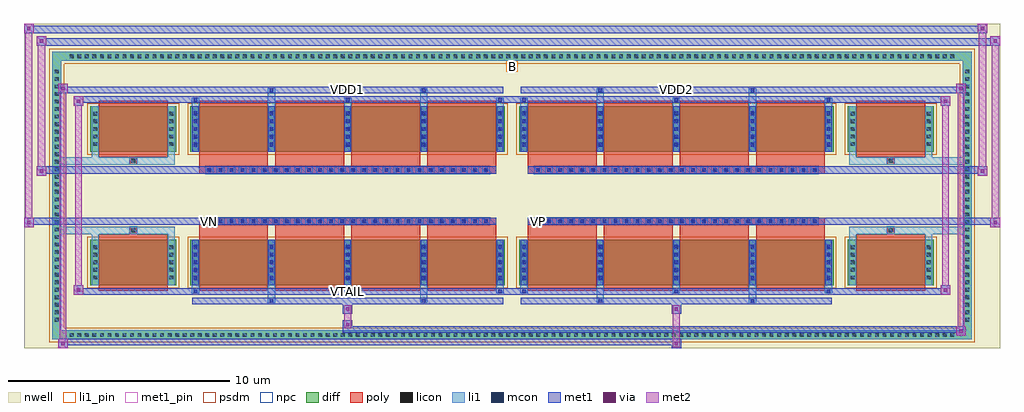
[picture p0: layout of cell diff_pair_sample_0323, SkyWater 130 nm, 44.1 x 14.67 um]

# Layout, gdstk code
import gdstk
lib = gdstk.Library(unit=1e-6, precision=5e-09)
def R(c, l, rs):  # rectangles x0, y0, x1, y1
    for r in rs: c.add(gdstk.rectangle(r[:2], r[2:], *l))
def A(c, l, x, y, w, h, nx, ny, dx, dy):  # array of equal rectangles
    R(c, l, [(x+i*dx, y+j*dy, x+i*dx+w, y+j*dy+h) for i in range(nx) for j in range(ny)])
def P(c, l, *ps):  # polygons
    for p in ps: c.add(gdstk.Polygon(p, *l))
nwell = (64, 20)
diff = (65, 20)
poly = (66, 20)
licon = (66, 44)
li1_pin = (67, 16)
li1 = (67, 20)
mcon = (67, 44)
met1_pin = (68, 16)
met1 = (68, 20)
via = (68, 44)
met2 = (69, 20)
psdm = (94, 20)
npc = (95, 20)

diff_pair_sample_0323 = lib.new_cell('diff_pair_sample_0323')
R(diff_pair_sample_0323, nwell, [(-22.05,-6.9,22.05,7.77), (-19.37,-5.09,-0.01,-0.795), (0.01,-5.09,19.37,-0.795), (-19.37,0.795,-0.01,5.09), (0.01,0.795,19.37,5.09)])
A(diff_pair_sample_0323, diff, -20.095, -6.5, 0.41, 0.41, 118, 2, 0.34, 12.59)
A(diff_pair_sample_0323, diff, -20.78, -5.815, 0.41, 0.41, 1, 34, 0, 0.34)
A(diff_pair_sample_0323, diff, 20.37, -5.815, 0.41, 0.41, 1, 34, 0, 0.34)
R(diff_pair_sample_0323, diff, [(-20.095,-6.5,20.095,-6.09), (-20.78,-5.815,-20.37,5.815), (20.37,-5.815,20.78,5.815), (-19.06,-4.045,-15.17,-1.985), (-14.53,-4.045,-0.32,-1.985), (0.32,-4.045,14.53,-1.985), (15.17,-4.045,19.06,-1.985), (-19.06,1.985,-15.17,4.045), (-14.53,1.985,-0.32,4.045), (0.32,1.985,14.53,4.045), (15.17,1.985,19.06,4.045), (-20.095,6.09,20.095,6.5)])
P(diff_pair_sample_0323, diff, [(20.78,6.5),(-20.78,6.5),(-20.78,-6.09),(-20.37,-6.09),(-20.37,6.09),(20.37,6.09),(20.37,-6.09),(-20.37,-6.09),(-20.78,-6.09),(-20.78,-6.5),(20.78,-6.5)])
A(diff_pair_sample_0323, poly, -14.14, -4.295, 3.11, 2.56, 4, 2, 3.44, 6.03)
A(diff_pair_sample_0323, poly, 0.71, -4.295, 3.11, 2.56, 4, 2, 3.44, 6.03)
A(diff_pair_sample_0323, poly, -14.14, -1.735, 3.11, 0.41, 4, 2, 3.44, 3.06)
A(diff_pair_sample_0323, poly, 0.71, -1.735, 3.11, 0.41, 4, 2, 3.44, 3.06)
A(diff_pair_sample_0323, poly, -13.84, -1.325, 0.33, 0.33, 26, 2, 0.5, 2.32)
A(diff_pair_sample_0323, poly, 1.01, -1.325, 0.33, 0.33, 26, 2, 0.5, 2.32)
R(diff_pair_sample_0323, poly, [(-18.67,-4.295,-15.56,-1.735), (15.56,-4.295,18.67,-1.735), (-17.28,-1.735,-16.95,-1.405), (-17.28,-1.735,-16.95,-1.405), (16.95,-1.735,17.28,-1.405), (16.95,-1.735,17.28,-1.405), (-14.14,-1.325,-0.71,-0.995), (0.71,-1.325,14.14,-0.995), (-14.14,0.995,-0.71,1.325), (0.71,0.995,14.14,1.325), (-17.28,1.405,-16.95,1.735), (-17.28,1.405,-16.95,1.735), (16.95,1.405,17.28,1.735), (16.95,1.405,17.28,1.735), (-18.67,1.735,-15.56,4.295), (15.56,1.735,18.67,4.295)])
A(diff_pair_sample_0323, licon, -19.975, -6.38, 0.17, 0.17, 118, 2, 0.34, 12.59)
A(diff_pair_sample_0323, licon, -20.66, -5.695, 0.17, 0.17, 1, 34, 0, 0.34)
A(diff_pair_sample_0323, licon, 20.49, -5.695, 0.17, 0.17, 1, 34, 0, 0.34)
A(diff_pair_sample_0323, licon, -18.92, -3.78, 0.17, 0.17, 1, 5, 0, 0.34)
A(diff_pair_sample_0323, licon, -15.48, -3.78, 0.17, 0.17, 1, 5, 0, 0.34)
A(diff_pair_sample_0323, licon, -14.39, -3.78, 0.17, 0.17, 5, 5, 3.44, 0.34)
A(diff_pair_sample_0323, licon, 0.46, -3.78, 0.17, 0.17, 5, 5, 3.44, 0.34)
A(diff_pair_sample_0323, licon, 15.31, -3.78, 0.17, 0.17, 1, 5, 0, 0.34)
A(diff_pair_sample_0323, licon, 18.75, -3.78, 0.17, 0.17, 1, 5, 0, 0.34)
A(diff_pair_sample_0323, licon, -13.76, -1.245, 0.17, 0.17, 26, 2, 0.5, 2.32)
A(diff_pair_sample_0323, licon, 1.09, -1.245, 0.17, 0.17, 26, 2, 0.5, 2.32)
A(diff_pair_sample_0323, licon, -18.92, 2.25, 0.17, 0.17, 1, 5, 0, 0.34)
A(diff_pair_sample_0323, licon, -15.48, 2.25, 0.17, 0.17, 1, 5, 0, 0.34)
A(diff_pair_sample_0323, licon, -14.39, 2.25, 0.17, 0.17, 5, 5, 3.44, 0.34)
A(diff_pair_sample_0323, licon, 0.46, 2.25, 0.17, 0.17, 5, 5, 3.44, 0.34)
A(diff_pair_sample_0323, licon, 15.31, 2.25, 0.17, 0.17, 1, 5, 0, 0.34)
A(diff_pair_sample_0323, licon, 18.75, 2.25, 0.17, 0.17, 1, 5, 0, 0.34)
R(diff_pair_sample_0323, licon, [(-17.2,-1.655,-17.03,-1.485), (17.03,-1.655,17.2,-1.485), (-17.2,1.485,-17.03,1.655), (17.03,1.485,17.2,1.655)])
R(diff_pair_sample_0323, li1_pin, [(-0.25,5.59,0.25,6.09)])
A(diff_pair_sample_0323, li1, -20.055, -6.46, 0.33, 0.33, 118, 2, 0.34, 12.59)
A(diff_pair_sample_0323, li1, -20.74, -5.775, 0.33, 0.33, 1, 34, 0, 0.34)
A(diff_pair_sample_0323, li1, 20.41, -5.775, 0.33, 0.33, 1, 34, 0, 0.34)
A(diff_pair_sample_0323, li1, -14.47, -4.42, 0.33, 0.375, 3, 2, 6.88, 8.465)
A(diff_pair_sample_0323, li1, -14.39, -4.42, 0.17, 0.17, 3, 2, 6.88, 8.67)
A(diff_pair_sample_0323, li1, 0.38, -4.42, 0.33, 0.375, 3, 2, 6.88, 8.465)
A(diff_pair_sample_0323, li1, 0.46, -4.42, 0.17, 0.17, 3, 2, 6.88, 8.67)
A(diff_pair_sample_0323, li1, -14.47, -4.045, 0.33, 2.06, 5, 2, 3.44, 6.03)
A(diff_pair_sample_0323, li1, 0.38, -4.045, 0.33, 2.06, 5, 2, 3.44, 6.03)
A(diff_pair_sample_0323, li1, -19, -3.86, 0.33, 0.33, 1, 5, 0, 0.34)
A(diff_pair_sample_0323, li1, -15.56, -3.86, 0.33, 0.33, 1, 5, 0, 0.34)
A(diff_pair_sample_0323, li1, -14.47, -3.86, 0.33, 0.33, 5, 5, 3.44, 0.34)
A(diff_pair_sample_0323, li1, 0.38, -3.86, 0.33, 0.33, 5, 5, 3.44, 0.34)
A(diff_pair_sample_0323, li1, 15.23, -3.86, 0.33, 0.33, 1, 5, 0, 0.34)
A(diff_pair_sample_0323, li1, 18.67, -3.86, 0.33, 0.33, 1, 5, 0, 0.34)
A(diff_pair_sample_0323, li1, -14.39, -3.82, 0.17, 0.17, 5, 5, 3.44, 0.36)
A(diff_pair_sample_0323, li1, -14.39, -3.82, 0.17, 1.61, 5, 2, 3.44, 6.03)
A(diff_pair_sample_0323, li1, 0.46, -3.82, 0.17, 0.17, 5, 5, 3.44, 0.36)
A(diff_pair_sample_0323, li1, 0.46, -3.82, 0.17, 1.61, 5, 2, 3.44, 6.03)
A(diff_pair_sample_0323, li1, -13.84, -1.325, 0.33, 0.33, 26, 2, 0.5, 2.32)
A(diff_pair_sample_0323, li1, 1.01, -1.325, 0.33, 0.33, 26, 2, 0.5, 2.32)
A(diff_pair_sample_0323, li1, -19, 2.17, 0.33, 0.33, 1, 5, 0, 0.34)
A(diff_pair_sample_0323, li1, -15.56, 2.17, 0.33, 0.33, 1, 5, 0, 0.34)
A(diff_pair_sample_0323, li1, -14.47, 2.17, 0.33, 0.33, 5, 5, 3.44, 0.34)
A(diff_pair_sample_0323, li1, 0.38, 2.17, 0.33, 0.33, 5, 5, 3.44, 0.34)
A(diff_pair_sample_0323, li1, 15.23, 2.17, 0.33, 0.33, 1, 5, 0, 0.34)
A(diff_pair_sample_0323, li1, 18.67, 2.17, 0.33, 0.33, 1, 5, 0, 0.34)
A(diff_pair_sample_0323, li1, -14.39, 2.21, 0.17, 0.17, 5, 5, 3.44, 0.36)
A(diff_pair_sample_0323, li1, 0.46, 2.21, 0.17, 0.17, 5, 5, 3.44, 0.36)
R(diff_pair_sample_0323, li1, [(-20.78,-6.5,-20.37,-6.09), (-20.78,-6.5,-20.37,-6.09), (-20.37,-6.5,20.37,-6.09), (20.37,-6.5,20.78,-6.09), (20.37,-6.5,20.78,-6.09), (-20.78,-6.09,-20.37,6.09), (20.37,-6.09,20.78,6.09), (-11.03,-4.85,-10.7,-4.045), (-10.95,-4.85,-10.78,-4.68), (-4.15,-4.85,-3.82,-4.045), (-4.07,-4.85,-3.9,-4.68), (3.82,-4.85,4.15,-4.045), (3.9,-4.85,4.07,-4.68), (10.7,-4.85,11.03,-4.045), (10.78,-4.85,10.95,-4.68), (-19,-4.045,-18.67,-1.985), (-15.56,-4.045,-15.23,-1.985), (15.23,-4.045,15.56,-1.985), (18.67,-4.045,19,-1.985), (-19,-1.985,-18.67,-1.405), (-15.56,-1.985,-15.23,-1.405), (15.23,-1.985,15.56,-1.405), (18.67,-1.985,19,-1.405), (-20.78,-1.735,-17.28,-1.405), (-19,-1.735,-17.28,-1.405), (-17.28,-1.735,-16.95,-1.405), (-16.95,-1.735,-15.23,-1.405), (15.23,-1.735,16.95,-1.405), (16.95,-1.735,17.28,-1.405), (16.95,-1.735,20.78,-1.405), (17.28,-1.735,19,-1.405), (-20.78,1.405,-17.28,1.735), (-19,1.405,-17.28,1.735), (-19,1.405,-18.67,1.985), (-17.28,1.405,-16.95,1.735), (-16.95,1.405,-15.23,1.735), (-15.56,1.405,-15.23,1.985), (15.23,1.405,16.95,1.735), (15.23,1.405,15.56,1.985), (16.95,1.405,17.28,1.735), (16.95,1.405,20.78,1.735), (17.28,1.405,19,1.735), (18.67,1.405,19,1.985), (-19,1.985,-18.67,4.045), (-15.56,1.985,-15.23,4.045), (15.23,1.985,15.56,4.045), (18.67,1.985,19,4.045), (-11.03,4.045,-10.7,4.85), (-4.15,4.045,-3.82,4.85), (3.82,4.045,4.15,4.85), (10.7,4.045,11.03,4.85), (-10.95,4.68,-10.78,4.85), (-4.07,4.68,-3.9,4.85), (3.9,4.68,4.07,4.85), (10.78,4.68,10.95,4.85), (-20.78,6.09,-20.37,6.5), (-20.78,6.09,-20.37,6.5), (-20.37,6.09,20.37,6.5), (20.37,6.09,20.78,6.5), (20.37,6.09,20.78,6.5)])
A(diff_pair_sample_0323, mcon, -14.39, -4.42, 0.17, 0.17, 3, 2, 6.88, 8.67)
A(diff_pair_sample_0323, mcon, 0.46, -4.42, 0.17, 0.17, 3, 2, 6.88, 8.67)
A(diff_pair_sample_0323, mcon, -14.39, -3.82, 0.17, 0.17, 5, 5, 3.44, 0.36)
A(diff_pair_sample_0323, mcon, 0.46, -3.82, 0.17, 0.17, 5, 5, 3.44, 0.36)
A(diff_pair_sample_0323, mcon, -13.76, -1.245, 0.17, 0.17, 26, 2, 0.5, 2.32)
A(diff_pair_sample_0323, mcon, 1.09, -1.245, 0.17, 0.17, 26, 2, 0.5, 2.32)
A(diff_pair_sample_0323, mcon, -14.39, 2.21, 0.17, 0.17, 5, 5, 3.44, 0.36)
A(diff_pair_sample_0323, mcon, 0.46, 2.21, 0.17, 0.17, 5, 5, 3.44, 0.36)
R(diff_pair_sample_0323, mcon, [(-10.95,-4.85,-10.78,-4.68), (-4.07,-4.85,-3.9,-4.68), (3.9,-4.85,4.07,-4.68), (10.78,-4.85,10.95,-4.68), (-10.95,4.68,-10.78,4.85), (-4.07,4.68,-3.9,4.85), (3.9,4.68,4.07,4.85), (10.78,4.68,10.95,4.85)])
R(diff_pair_sample_0323, met1_pin, [(-7.56,-4.46,-7.29,-4.19), (-13.81,-1.285,-13.54,-1.015), (1.04,-1.285,1.31,-1.015), (-7.56,4.64,-7.29,4.91), (7.29,4.64,7.56,4.91)])
A(diff_pair_sample_0323, met1, -14.45, -4.48, 0.29, 0.29, 3, 2, 6.88, 8.67)
A(diff_pair_sample_0323, met1, 0.4, -4.48, 0.29, 0.29, 3, 2, 6.88, 8.67)
A(diff_pair_sample_0323, met1, -14.45, -4.045, 0.29, 2.06, 5, 2, 3.44, 6.03)
A(diff_pair_sample_0323, met1, 0.4, -4.045, 0.29, 2.06, 5, 2, 3.44, 6.03)
A(diff_pair_sample_0323, met1, -14.45, -3.88, 0.29, 0.29, 5, 5, 3.44, 0.36)
A(diff_pair_sample_0323, met1, 0.4, -3.88, 0.29, 0.29, 5, 5, 3.44, 0.36)
A(diff_pair_sample_0323, met1, -13.82, -1.305, 0.29, 0.29, 26, 2, 0.5, 2.32)
A(diff_pair_sample_0323, met1, 1.03, -1.305, 0.29, 0.29, 26, 2, 0.5, 2.32)
A(diff_pair_sample_0323, met1, -14.45, 2.15, 0.29, 0.29, 5, 5, 3.44, 0.36)
A(diff_pair_sample_0323, met1, 0.4, 2.15, 0.29, 0.29, 5, 5, 3.44, 0.36)
R(diff_pair_sample_0323, met1, [(-20.51,-6.9,-20.08,-6.47), (7.21,-6.9,7.64,-6.47), (-20.51,-6.76,7.64,-6.47), (20.08,-6.33,20.51,-5.9), (-7.64,-6.19,20.51,-5.9), (-7.64,-6.05,-7.21,-5.62), (-7.64,-5.34,-7.21,-4.91), (7.21,-5.34,7.64,-4.91), (-14.45,-4.91,-0.4,-4.62), (-11.01,-4.91,-10.72,-4.62), (-4.13,-4.91,-3.84,-4.62), (0.4,-4.91,14.45,-4.62), (3.84,-4.91,4.13,-4.62), (10.72,-4.91,11.01,-4.62), (-19.8,-4.48,-19.37,-4.05), (-19.8,-4.48,-14.45,-4.19), (-14.45,-4.48,-0.4,-4.19), (-0.4,-4.48,0.4,-4.19), (0.4,-4.48,14.45,-4.19), (14.45,-4.48,19.8,-4.19), (19.37,-4.48,19.8,-4.05), (-22.05,-1.425,-21.62,-0.995), (21.62,-1.425,22.05,-0.995), (-22.05,-1.325,-0.71,-0.995), (-14.14,-1.325,-0.71,-0.995), (0.71,-1.325,14.14,-0.995), (0.71,-1.325,22.05,-0.995), (-21.48,0.895,-21.05,1.325), (21.05,0.895,21.48,1.325), (-21.48,0.995,-14.14,1.325), (-14.14,0.995,-0.71,1.325), (0.71,0.995,14.14,1.325), (14.14,0.995,21.48,1.325), (-19.8,4.05,-19.37,4.48), (19.37,4.05,19.8,4.48), (-19.8,4.19,-14.45,4.48), (-14.45,4.19,-0.4,4.48), (-0.4,4.19,0.4,4.48), (0.4,4.19,14.45,4.48), (14.45,4.19,19.8,4.48), (-20.51,4.62,-20.08,5.05), (-20.51,4.62,-14.45,4.91), (-14.45,4.62,-0.4,4.91), (-11.01,4.62,-10.72,4.91), (-4.13,4.62,-3.84,4.91), (0.4,4.62,14.45,4.91), (3.84,4.62,4.13,4.91), (10.72,4.62,11.01,4.91), (14.45,4.62,20.51,4.91), (20.08,4.62,20.51,5.05), (-21.48,6.77,-21.05,7.2), (-21.48,6.77,-19.37,7.1), (-19.37,6.77,19.37,7.1), (19.37,6.77,22.05,7.1), (21.62,6.77,22.05,7.2), (-22.05,7.34,-21.62,7.77), (-22.05,7.34,-19.37,7.67), (-19.37,7.34,19.37,7.67), (19.37,7.34,21.48,7.67), (21.05,7.34,21.48,7.77)])
R(diff_pair_sample_0323, via, [(-20.37,-6.76,-20.22,-6.61), (7.35,-6.76,7.5,-6.61), (20.22,-6.19,20.37,-6.04), (-7.5,-5.91,-7.35,-5.76), (-7.5,-5.2,-7.35,-5.05), (7.35,-5.2,7.5,-5.05), (-19.66,-4.34,-19.51,-4.19), (19.51,-4.34,19.66,-4.19), (-21.91,-1.285,-21.76,-1.135), (21.76,-1.285,21.91,-1.135), (-21.34,1.035,-21.19,1.185), (21.19,1.035,21.34,1.185), (-19.66,4.19,-19.51,4.34), (19.51,4.19,19.66,4.34), (-20.37,4.76,-20.22,4.91), (20.22,4.76,20.37,4.91), (-21.34,6.91,-21.19,7.06), (21.76,6.91,21.91,7.06), (-21.91,7.48,-21.76,7.63), (21.19,7.48,21.34,7.63)])
R(diff_pair_sample_0323, met2, [(-20.51,-6.9,-20.08,-6.47), (-20.44,-6.9,-20.15,5.05), (-20.15,-6.9,-20.08,-6.47), (-20.46,-6.85,-20.13,-6.52), (7.26,-6.85,7.59,-6.52), (7.26,-6.52,7.59,-5.29), (20.08,-6.33,20.51,-5.9), (20.15,-6.33,20.44,5.05), (20.44,-6.33,20.51,-5.9), (20.13,-6.28,20.46,-5.95), (-7.59,-6,-7.26,-5.67), (-7.59,-5.67,-7.26,-5.29), (-7.59,-5.29,-7.26,-4.96), (7.26,-5.29,7.59,-4.96), (-19.8,-4.48,-19.37,-4.05), (-19.73,-4.48,-19.44,4.48), (-19.44,-4.48,-19.37,-4.05), (19.37,-4.48,19.8,-4.05), (19.44,-4.48,19.73,4.48), (19.73,-4.48,19.8,-4.05), (-19.75,-4.43,-19.42,-4.1), (19.42,-4.43,19.75,-4.1), (-22.05,-1.425,-21.62,-0.995), (-22,-1.425,-21.67,7.77), (-21.67,-1.425,-21.62,-0.995), (21.62,-1.425,22.05,-0.995), (21.67,-1.425,22,7.2), (22,-1.425,22.05,-0.995), (-22,-1.375,-21.67,-1.045), (21.67,-1.375,22,-1.045), (-21.48,0.895,-21.05,1.325), (-21.43,0.895,-21.1,7.2), (-21.1,0.895,-21.05,1.325), (21.05,0.895,21.48,1.325), (21.1,0.895,21.43,7.77), (21.43,0.895,21.48,1.325), (-21.43,0.945,-21.1,1.275), (21.1,0.945,21.43,1.275), (-19.8,4.05,-19.37,4.48), (-19.44,4.05,-19.37,4.48), (19.37,4.05,19.8,4.48), (19.73,4.05,19.8,4.48), (-19.75,4.1,-19.42,4.43), (19.42,4.1,19.75,4.43), (-20.51,4.62,-20.08,5.05), (-20.15,4.62,-20.08,5.05), (20.08,4.62,20.51,5.05), (20.44,4.62,20.51,5.05), (-20.46,4.67,-20.13,5), (20.13,4.67,20.46,5), (-21.48,6.77,-21.05,7.2), (-21.1,6.77,-21.05,7.2), (21.62,6.77,22.05,7.2), (22,6.77,22.05,7.2), (-21.43,6.82,-21.1,7.15), (21.67,6.82,22,7.15), (-22.05,7.34,-21.62,7.77), (-21.67,7.34,-21.62,7.77), (21.05,7.34,21.48,7.77), (21.43,7.34,21.48,7.77), (-22,7.39,-21.67,7.72), (21.1,7.39,21.43,7.72)])
R(diff_pair_sample_0323, psdm, [(-19.19,-4.175,-15.04,-1.855), (-14.66,-4.175,-0.19,-1.855), (0.19,-4.175,14.66,-1.855), (15.04,-4.175,19.19,-1.855), (-19.19,1.855,-15.04,4.175), (-14.66,1.855,-0.19,4.175), (0.19,1.855,14.66,4.175), (15.04,1.855,19.19,4.175)])
P(diff_pair_sample_0323, psdm, [(20.91,6.63),(-20.91,6.63),(-20.91,-5.96),(-20.24,-5.96),(-20.24,5.96),(20.24,5.96),(20.24,-5.96),(-20.24,-5.96),(-20.91,-5.96),(-20.91,-6.63),(20.91,-6.63)])
A(diff_pair_sample_0323, npc, -13.86, -1.345, 0.37, 0.37, 26, 2, 0.5, 2.32)
A(diff_pair_sample_0323, npc, 0.99, -1.345, 0.37, 0.37, 26, 2, 0.5, 2.32)
R(diff_pair_sample_0323, npc, [(-17.3,-1.755,-16.93,-1.385), (16.93,-1.755,17.3,-1.385), (-13.86,-1.345,-12.99,-0.975), (-13.86,-1.345,-12.99,-0.975), (-13.36,-1.345,-12.49,-0.975), (-13.36,-1.345,-12.49,-0.975), (-12.86,-1.345,-11.99,-0.975), (-12.86,-1.345,-11.99,-0.975), (-12.36,-1.345,-11.49,-0.975), (-12.36,-1.345,-11.49,-0.975), (-11.86,-1.345,-10.99,-0.975), (-11.86,-1.345,-10.99,-0.975), (-11.36,-1.345,-10.49,-0.975), (-11.36,-1.345,-10.49,-0.975), (-10.86,-1.345,-9.99,-0.975), (-10.86,-1.345,-9.99,-0.975), (-10.36,-1.345,-9.49,-0.975), (-10.36,-1.345,-9.49,-0.975), (-9.86,-1.345,-8.99,-0.975), (-9.86,-1.345,-8.99,-0.975), (-9.36,-1.345,-8.49,-0.975), (-9.36,-1.345,-8.49,-0.975), (-8.86,-1.345,-7.99,-0.975), (-8.86,-1.345,-7.99,-0.975), (-8.36,-1.345,-7.49,-0.975), (-8.36,-1.345,-7.49,-0.975), (-7.86,-1.345,-6.99,-0.975), (-7.86,-1.345,-6.99,-0.975), (-7.36,-1.345,-6.49,-0.975), (-7.36,-1.345,-6.49,-0.975), (-6.86,-1.345,-5.99,-0.975), (-6.86,-1.345,-5.99,-0.975), (-6.36,-1.345,-5.49,-0.975), (-6.36,-1.345,-5.49,-0.975), (-5.86,-1.345,-4.99,-0.975), (-5.86,-1.345,-4.99,-0.975), (-5.36,-1.345,-4.49,-0.975), (-5.36,-1.345,-4.49,-0.975), (-4.86,-1.345,-3.99,-0.975), (-4.86,-1.345,-3.99,-0.975), (-4.36,-1.345,-3.49,-0.975), (-4.36,-1.345,-3.49,-0.975), (-3.86,-1.345,-2.99,-0.975), (-3.86,-1.345,-2.99,-0.975), (-3.36,-1.345,-2.49,-0.975), (-3.36,-1.345,-2.49,-0.975), (-2.86,-1.345,-1.99,-0.975), (-2.86,-1.345,-1.99,-0.975), (-2.36,-1.345,-1.49,-0.975), (-2.36,-1.345,-1.49,-0.975), (-1.86,-1.345,-0.99,-0.975), (-1.86,-1.345,-0.99,-0.975), (0.99,-1.345,1.86,-0.975), (0.99,-1.345,1.86,-0.975), (1.49,-1.345,2.36,-0.975), (1.49,-1.345,2.36,-0.975), (1.99,-1.345,2.86,-0.975), (1.99,-1.345,2.86,-0.975), (2.49,-1.345,3.36,-0.975), (2.49,-1.345,3.36,-0.975), (2.99,-1.345,3.86,-0.975), (2.99,-1.345,3.86,-0.975), (3.49,-1.345,4.36,-0.975), (3.49,-1.345,4.36,-0.975), (3.99,-1.345,4.86,-0.975), (3.99,-1.345,4.86,-0.975), (4.49,-1.345,5.36,-0.975), (4.49,-1.345,5.36,-0.975), (4.99,-1.345,5.86,-0.975), (4.99,-1.345,5.86,-0.975), (5.49,-1.345,6.36,-0.975), (5.49,-1.345,6.36,-0.975), (5.99,-1.345,6.86,-0.975), (5.99,-1.345,6.86,-0.975), (6.49,-1.345,7.36,-0.975), (6.49,-1.345,7.36,-0.975), (6.99,-1.345,7.86,-0.975), (6.99,-1.345,7.86,-0.975), (7.49,-1.345,8.36,-0.975), (7.49,-1.345,8.36,-0.975), (7.99,-1.345,8.86,-0.975), (7.99,-1.345,8.86,-0.975), (8.49,-1.345,9.36,-0.975), (8.49,-1.345,9.36,-0.975), (8.99,-1.345,9.86,-0.975), (8.99,-1.345,9.86,-0.975), (9.49,-1.345,10.36,-0.975), (9.49,-1.345,10.36,-0.975), (9.99,-1.345,10.86,-0.975), (9.99,-1.345,10.86,-0.975), (10.49,-1.345,11.36,-0.975), (10.49,-1.345,11.36,-0.975), (10.99,-1.345,11.86,-0.975), (10.99,-1.345,11.86,-0.975), (11.49,-1.345,12.36,-0.975), (11.49,-1.345,12.36,-0.975), (11.99,-1.345,12.86,-0.975), (11.99,-1.345,12.86,-0.975), (12.49,-1.345,13.36,-0.975), (12.49,-1.345,13.36,-0.975), (12.99,-1.345,13.86,-0.975), (12.99,-1.345,13.86,-0.975), (-13.86,0.975,-12.99,1.345), (-13.86,0.975,-12.99,1.345), (-13.36,0.975,-12.49,1.345), (-13.36,0.975,-12.49,1.345), (-12.86,0.975,-11.99,1.345), (-12.86,0.975,-11.99,1.345), (-12.36,0.975,-11.49,1.345), (-12.36,0.975,-11.49,1.345), (-11.86,0.975,-10.99,1.345), (-11.86,0.975,-10.99,1.345), (-11.36,0.975,-10.49,1.345), (-11.36,0.975,-10.49,1.345), (-10.86,0.975,-9.99,1.345), (-10.86,0.975,-9.99,1.345), (-10.36,0.975,-9.49,1.345), (-10.36,0.975,-9.49,1.345), (-9.86,0.975,-8.99,1.345), (-9.86,0.975,-8.99,1.345), (-9.36,0.975,-8.49,1.345), (-9.36,0.975,-8.49,1.345), (-8.86,0.975,-7.99,1.345), (-8.86,0.975,-7.99,1.345), (-8.36,0.975,-7.49,1.345), (-8.36,0.975,-7.49,1.345), (-7.86,0.975,-6.99,1.345), (-7.86,0.975,-6.99,1.345), (-7.36,0.975,-6.49,1.345), (-7.36,0.975,-6.49,1.345), (-6.86,0.975,-5.99,1.345), (-6.86,0.975,-5.99,1.345), (-6.36,0.975,-5.49,1.345), (-6.36,0.975,-5.49,1.345), (-5.86,0.975,-4.99,1.345), (-5.86,0.975,-4.99,1.345), (-5.36,0.975,-4.49,1.345), (-5.36,0.975,-4.49,1.345), (-4.86,0.975,-3.99,1.345), (-4.86,0.975,-3.99,1.345), (-4.36,0.975,-3.49,1.345), (-4.36,0.975,-3.49,1.345), (-3.86,0.975,-2.99,1.345), (-3.86,0.975,-2.99,1.345), (-3.36,0.975,-2.49,1.345), (-3.36,0.975,-2.49,1.345), (-2.86,0.975,-1.99,1.345), (-2.86,0.975,-1.99,1.345), (-2.36,0.975,-1.49,1.345), (-2.36,0.975,-1.49,1.345), (-1.86,0.975,-0.99,1.345), (-1.86,0.975,-0.99,1.345), (0.99,0.975,1.86,1.345), (0.99,0.975,1.86,1.345), (1.49,0.975,2.36,1.345), (1.49,0.975,2.36,1.345), (1.99,0.975,2.86,1.345), (1.99,0.975,2.86,1.345), (2.49,0.975,3.36,1.345), (2.49,0.975,3.36,1.345), (2.99,0.975,3.86,1.345), (2.99,0.975,3.86,1.345), (3.49,0.975,4.36,1.345), (3.49,0.975,4.36,1.345), (3.99,0.975,4.86,1.345), (3.99,0.975,4.86,1.345), (4.49,0.975,5.36,1.345), (4.49,0.975,5.36,1.345), (4.99,0.975,5.86,1.345), (4.99,0.975,5.86,1.345), (5.49,0.975,6.36,1.345), (5.49,0.975,6.36,1.345), (5.99,0.975,6.86,1.345), (5.99,0.975,6.86,1.345), (6.49,0.975,7.36,1.345), (6.49,0.975,7.36,1.345), (6.99,0.975,7.86,1.345), (6.99,0.975,7.86,1.345), (7.49,0.975,8.36,1.345), (7.49,0.975,8.36,1.345), (7.99,0.975,8.86,1.345), (7.99,0.975,8.86,1.345), (8.49,0.975,9.36,1.345), (8.49,0.975,9.36,1.345), (8.99,0.975,9.86,1.345), (8.99,0.975,9.86,1.345), (9.49,0.975,10.36,1.345), (9.49,0.975,10.36,1.345), (9.99,0.975,10.86,1.345), (9.99,0.975,10.86,1.345), (10.49,0.975,11.36,1.345), (10.49,0.975,11.36,1.345), (10.99,0.975,11.86,1.345), (10.99,0.975,11.86,1.345), (11.49,0.975,12.36,1.345), (11.49,0.975,12.36,1.345), (11.99,0.975,12.86,1.345), (11.99,0.975,12.86,1.345), (12.49,0.975,13.36,1.345), (12.49,0.975,13.36,1.345), (12.99,0.975,13.86,1.345), (12.99,0.975,13.86,1.345), (-17.3,1.385,-16.93,1.755), (16.93,1.385,17.3,1.755)])
diff_pair_sample_0323.add(gdstk.Label('VTAIL', (-7.425,-4.325), layer=68, texttype=5))
diff_pair_sample_0323.add(gdstk.Label('VN', (-13.675,-1.15), layer=68, texttype=5))
diff_pair_sample_0323.add(gdstk.Label('VP', (1.175,-1.15), layer=68, texttype=5))
diff_pair_sample_0323.add(gdstk.Label('B', (0,5.84), layer=67, texttype=5))
diff_pair_sample_0323.add(gdstk.Label('VDD2', (7.425,4.775), layer=68, texttype=5))
diff_pair_sample_0323.add(gdstk.Label('VDD1', (-7.425,4.775), layer=68, texttype=5))

lib.write_gds('diff_pair_sample_0323.gds')
